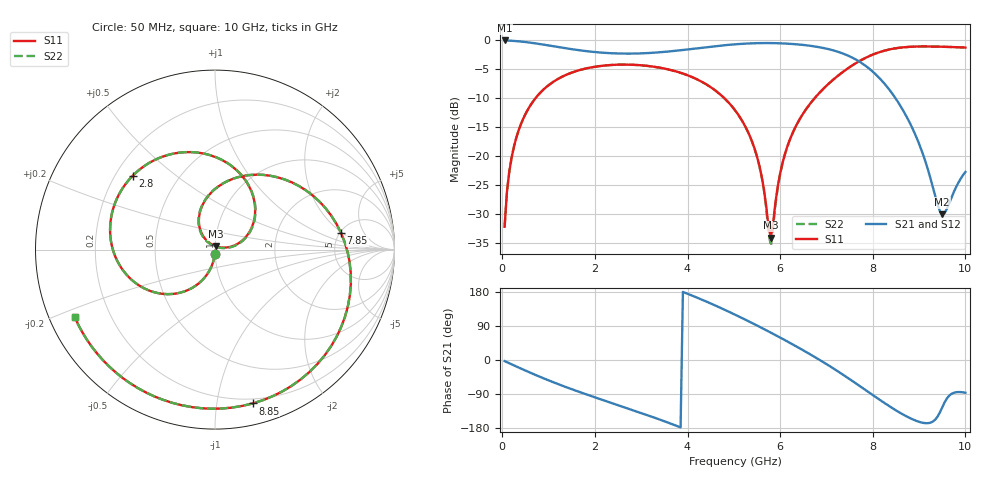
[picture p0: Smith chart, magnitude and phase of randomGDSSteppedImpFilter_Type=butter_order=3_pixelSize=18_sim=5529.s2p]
! freq	dB(S11)	phase(S11)	dB(S12)	phase(S12)
!  dB(S21)	phase(S21)	dB(S22)	phase(S22)
!S-par simulation data
#  GHz  S  DB  R 50
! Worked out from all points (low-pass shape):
!   200 points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, 50 MHz to 10 GHz, reference 50 ohm
!   highest |S21| = -0.01 dB at 50 MHz (marker M1); lowest = -30.1 dB at 9.5 GHz (marker M2)
!   |S21| within 3 dB of the highest: start of sweep to 7.564 GHz
!   lowest |S11| = -34.1 dB at 5.8 GHz (marker M3), VSWR 1.04, Z = 50.4 + j1.93 ohm
!   |S11| at or under -10 dB: start of sweep to 717.7 MHz; 4.795 GHz to 6.744 GHz (1.949 GHz wide, 33.8 % of centre)
!   |S22| runs from -35.6 to -1.0 dB; largest |S21 - S12| = 0
!   S11 on the Smith chart (normalised r, x): 50 MHz: 1.00, -0.05; 2.8 GHz: 0.27, +0.36; 7.85 GHz: 5.12, +1.91; 8.85 GHz: 0.16, -1.26; 10 GHz: 0.07, -0.23
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0.05  -32.25 -93.0  -0.01 -2.9  -0.01 -2.9  -32.25 -93.0
0.1  -26.26 -96.0  -0.02 -5.7  -0.02 -5.7  -26.26 -96.0
0.2  -20.32 -101.8  -0.06 -11.4  -0.06 -11.4  -20.32 -101.8
0.5  -12.74 -118.5  -0.28 -27.9  -0.28 -27.9  -12.74 -118.5
1.1  -7.17 -149.2  -1.00 -58.6  -1.00 -58.6  -7.17 -149.2
1.75  -4.96 -178.5  -1.79 -88.0  -1.79 -88.0  -4.96 -178.6
2.8  -4.21 138.1  -2.28 -131.5  -2.28 -131.5  -4.21 138.0
3.4  -4.72 112.7  -2.05 -157.2  -2.05 -157.2  -4.72 112.5
4.3  -7.12 70.6  -1.27 159.8  -1.27 159.8  -7.12 70.3
5.05  -12.35 31.5  -0.66 118.2  -0.66 118.2  -12.35 30.7
5.5  -20.10 11.1  -0.47 91.0  -0.47 91.0  -20.14 9.3
5.65  -25.79 12.6  -0.46 81.7  -0.46 81.7  -25.97 9.2
5.8  -34.12 77.0  -0.46 72.1  -0.46 72.1  -35.61 77.9
5.95  -25.18 131.0  -0.48 62.4  -0.48 62.4  -25.36 134.1
6.1  -19.75 131.0  -0.53 52.6  -0.53 52.6  -19.80 132.7
6.7  -10.42 97.1  -0.98 11.3  -0.98 11.3  -10.43 97.6
7.35  -5.48 49.2  -2.25 -38.1  -2.25 -38.1  -5.48 49.3
7.85  -2.99 7.5  -4.42 -79.8  -4.42 -79.8  -3.00 7.5
8.35  -1.58 -35.7  -8.44 -121.3  -8.44 -121.3  -1.58 -35.8
8.85  -1.09 -76.2  -15.11 -156.0  -15.11 -156.0  -1.09 -76.5
9.5  -1.09 -122.4  -30.08 -124.9  -30.08 -124.9  -1.09 -122.6
10  -1.24 -154.1  -22.76 -86.4  -22.76 -86.4  -1.23 -154.4
